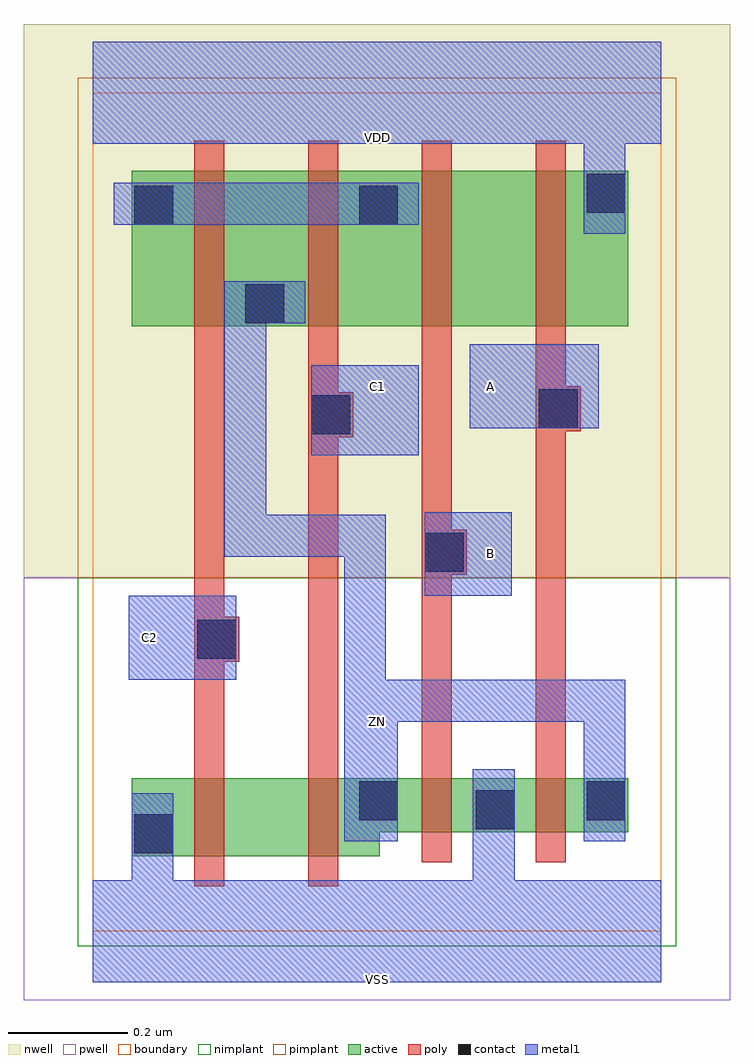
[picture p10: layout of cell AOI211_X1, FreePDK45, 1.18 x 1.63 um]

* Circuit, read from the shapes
.subckt AOI211_X1 A B C1 C2 VDD VSS ZN
M1 n1 C2 VSS VSUBS nfet w=0.13u l=0.05u
M2 ZN C1 n1 VSUBS nfet w=0.13u l=0.05u
M3 VSS B ZN VSUBS nfet w=0.09u l=0.05u
M4 ZN A VSS VSUBS nfet w=0.09u l=0.05u
M5 ZN C2 n2 n3 pfet w=0.26u l=0.05u
M6 n2 C1 ZN n3 pfet w=0.26u l=0.05u
M7 n4 B n2 n3 pfet w=0.26u l=0.05u
M8 VDD A n4 n3 pfet w=0.26u l=0.05u
.ends

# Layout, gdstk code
import gdstk
lib = gdstk.Library(unit=1e-6, precision=1e-10)
def R(c, l, rs):  # rectangles x0, y0, x1, y1
    for r in rs: c.add(gdstk.rectangle(r[:2], r[2:], *l))
def P(c, l, *ps):  # polygons
    for p in ps: c.add(gdstk.Polygon(p, *l))
active = (1, 0)
pwell = (2, 0)
nwell = (3, 0)
nimplant = (4, 0)
pimplant = (5, 0)
poly = (9, 0)
contact = (10, 0)
metal1 = (11, 0)
boundary = (235, 0)

aoi211_x1 = lib.new_cell('AOI211_X1')
R(aoi211_x1, active, [(0.065,1.01,0.895,1.27)])
P(aoi211_x1, active, [(0.065,0.125),(0.48,0.125),(0.48,0.165),(0.895,0.165),(0.895,0.255),(0.065,0.255)])
R(aoi211_x1, pwell, [(-0.115,-0.115,1.065,0.59)])
R(aoi211_x1, nwell, [(-0.115,0.59,1.065,1.515)])
R(aoi211_x1, nimplant, [(-0.025,-0.025,0.975,0.59)])
R(aoi211_x1, pimplant, [(-0.025,0.59,0.975,1.425)])
P(aoi211_x1, poly, [(0.17,0.075),(0.22,0.075),(0.22,0.45),(0.245,0.45),(0.245,0.525),(0.22,0.525),(0.22,1.32),(0.17,1.32)],
  [(0.36,0.075),(0.41,0.075),(0.41,0.825),(0.435,0.825),(0.435,0.9),(0.41,0.9),(0.41,1.32),(0.36,1.32)],
  [(0.55,0.115),(0.6,0.115),(0.6,0.595),(0.625,0.595),(0.625,0.67),(0.6,0.67),(0.6,1.32),(0.55,1.32)],
  [(0.74,0.115),(0.79,0.115),(0.79,0.835),(0.815,0.835),(0.815,0.91),(0.79,0.91),(0.79,1.32),(0.74,1.32)])
R(aoi211_x1, contact, [(0.07,0.13,0.135,0.195), (0.64,0.17,0.705,0.235), (0.445,0.185,0.51,0.25), (0.825,0.185,0.89,0.25), (0.175,0.455,0.24,0.52), (0.555,0.6,0.62,0.665), (0.365,0.83,0.43,0.895), (0.745,0.84,0.81,0.905), (0.255,1.015,0.32,1.08), (0.07,1.18,0.135,1.245), (0.445,1.18,0.51,1.245), (0.825,1.2,0.89,1.265)])
R(aoi211_x1, metal1, [(0.06,0.42,0.24,0.56), (0.555,0.56,0.7,0.7), (0.365,0.795,0.545,0.945), (0.63,0.84,0.845,0.98), (0.035,1.18,0.545,1.25)])
P(aoi211_x1, metal1, [(0.22,0.625),(0.42,0.625),(0.42,0.15),(0.51,0.15),(0.51,0.35),(0.82,0.35),(0.82,0.15),(0.89,0.15),(0.89,0.42),(0.49,0.42),(0.49,0.695),(0.29,0.695),(0.29,1.015),(0.355,1.015),(0.355,1.085),(0.22,1.085)],
  [(0,-0.085),(0.95,-0.085),(0.95,0.085),(0.705,0.085),(0.705,0.27),(0.635,0.27),(0.635,0.085),(0.135,0.085),(0.135,0.23),(0.065,0.23),(0.065,0.085),(0,0.085)],
  [(0,1.315),(0.82,1.315),(0.82,1.165),(0.89,1.165),(0.89,1.315),(0.95,1.315),(0.95,1.485),(0,1.485)])
R(aoi211_x1, boundary, [(0,0,0.95,1.4)])
aoi211_x1.add(gdstk.Label('A', (0.665,0.91), layer=11, texttype=0))
aoi211_x1.add(gdstk.Label('B', (0.665,0.63), layer=11, texttype=0))
aoi211_x1.add(gdstk.Label('C1', (0.475,0.91), layer=11, texttype=0))
aoi211_x1.add(gdstk.Label('C2', (0.095,0.49), layer=11, texttype=0))
aoi211_x1.add(gdstk.Label('VDD', (0.475,1.325), layer=11, texttype=0))
aoi211_x1.add(gdstk.Label('VSS', (0.475,-0.08), layer=11, texttype=0))
aoi211_x1.add(gdstk.Label('ZN', (0.475,0.35), layer=11, texttype=0))

lib.write_gds('AOI211_X1.gds')
